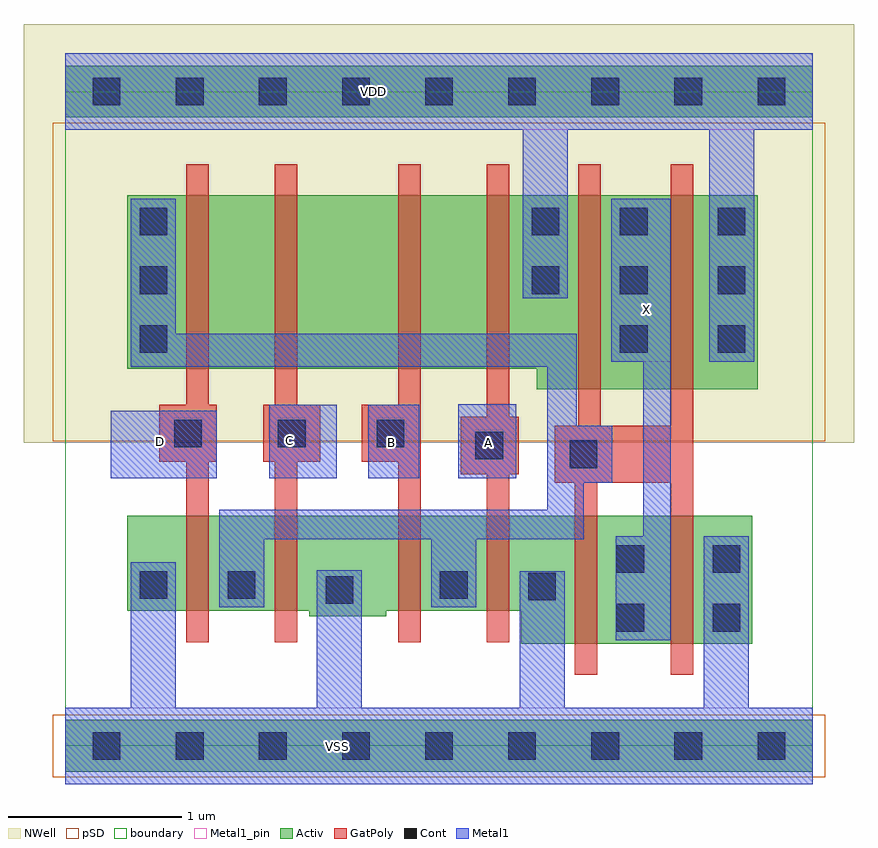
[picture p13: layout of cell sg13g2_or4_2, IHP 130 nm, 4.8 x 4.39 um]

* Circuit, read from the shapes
.subckt sg13g2_or4_2 A B C D VDD VSS X
XM1 n1 D VSS VSS sg13_lv_nmos w=0.55u l=0.13u
XM2 VSS C n1 VSS sg13_lv_nmos w=0.55u l=0.13u
XM3 n1 B VSS VSS sg13_lv_nmos w=0.55u l=0.13u
XM4 VSS A n1 VSS sg13_lv_nmos w=0.55u l=0.13u
XM5 X n1 VSS VSS sg13_lv_nmos w=0.74u l=0.13u m=2
XM6 n2 D n1 VDD sg13_lv_pmos w=1u l=0.13u
XM7 n3 C n2 VDD sg13_lv_pmos w=1u l=0.13u
XM8 n4 B n3 VDD sg13_lv_pmos w=1u l=0.13u
XM9 VDD A n4 VDD sg13_lv_pmos w=1u l=0.13u
XM10 X n1 VDD VDD sg13_lv_pmos w=1.12u l=0.13u m=2
.ends

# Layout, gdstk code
import gdstk
lib = gdstk.Library(unit=1e-6, precision=1e-09)
def R(c, l, rs):  # rectangles x0, y0, x1, y1
    for r in rs: c.add(gdstk.rectangle(r[:2], r[2:], *l))
def A(c, l, x, y, w, h, nx, ny, dx, dy):  # array of equal rectangles
    R(c, l, [(x+i*dx, y+j*dy, x+i*dx+w, y+j*dy+h) for i in range(nx) for j in range(ny)])
def P(c, l, *ps):  # polygons
    for p in ps: c.add(gdstk.Polygon(p, *l))
Activ = (1, 0)
GatPoly = (5, 0)
Cont = (6, 0)
Metal1 = (8, 0)
Metal1_pin = (8, 2)
pSD = (14, 0)
NWell = (31, 0)
boundary = (189, 4)

sg13g2_or4_2 = lib.new_cell('sg13g2_or4_2')
R(sg13g2_or4_2, Activ, [(0,-0.15,4.32,0.15), (0,3.63,4.32,3.93)])
P(sg13g2_or4_2, Activ, [(2.725,2.06),(2.725,2.18),(0.36,2.18),(0.36,3.18),(4,3.18),(4,2.06)],
  [(2.635,0.59),(2.635,0.78),(1.855,0.78),(1.855,0.75),(1.41,0.75),(1.41,0.78),(0.36,0.78),(0.36,1.33),(3.97,1.33),(3.97,0.59)])
R(sg13g2_or4_2, GatPoly, [(3.5,0.41,3.63,1.52), (3.16,1.52,3.63,1.85), (3.5,1.84,3.63,1.88), (3.5,1.88,3.63,3.36)])
P(sg13g2_or4_2, GatPoly, [(1.21,0.6),(1.21,1.64),(1.145,1.64),(1.145,1.97),(1.21,1.97),(1.21,3.36),(1.34,3.36),(1.34,1.97),(1.475,1.97),(1.475,1.64),(1.34,1.64),(1.34,0.6)],
  [(2.945,0.41),(2.945,1.52),(2.83,1.52),(2.83,1.85),(2.965,1.85),(2.965,3.36),(3.095,3.36),(3.095,1.85),(3.16,1.85),(3.16,1.52),(3.075,1.52),(3.075,0.41)],
  [(1.925,0.6),(1.925,1.64),(1.715,1.64),(1.715,1.97),(1.925,1.97),(1.925,3.36),(2.055,3.36),(2.055,0.6)],
  [(2.435,0.6),(2.435,1.57),(2.285,1.57),(2.285,1.9),(2.435,1.9),(2.435,3.36),(2.565,3.36),(2.565,1.9),(2.62,1.9),(2.62,1.57),(2.565,1.57),(2.565,0.6)],
  [(0.7,0.6),(0.7,1.64),(0.545,1.64),(0.545,1.97),(0.7,1.97),(0.7,3.36),(0.83,3.36),(0.83,1.97),(0.875,1.97),(0.875,1.64),(0.83,1.64),(0.83,0.6)])
A(sg13g2_or4_2, Cont, 0.43, 2.27, 0.16, 0.16, 1, 3, 0, 0.34)
A(sg13g2_or4_2, Cont, 3.205, 2.27, 0.16, 0.16, 1, 3, 0, 0.34)
A(sg13g2_or4_2, Cont, 3.77, 2.27, 0.16, 0.16, 1, 3, 0, 0.34)
R(sg13g2_or4_2, Cont, [(0.16,-0.08,0.32,0.08), (0.16,-0.08,0.32,0.08), (0.64,-0.08,0.8,0.08), (0.64,-0.08,0.8,0.08), (1.12,-0.08,1.28,0.08), (1.12,-0.08,1.28,0.08), (1.6,-0.08,1.76,0.08), (1.6,-0.08,1.76,0.08), (2.08,-0.08,2.24,0.08), (2.08,-0.08,2.24,0.08), (2.56,-0.08,2.72,0.08), (2.56,-0.08,2.72,0.08), (3.04,-0.08,3.2,0.08), (3.04,-0.08,3.2,0.08), (3.52,-0.08,3.68,0.08), (3.52,-0.08,3.68,0.08), (4,-0.08,4.16,0.08), (3.185,0.66,3.345,0.82), (3.74,0.66,3.9,0.82), (1.505,0.82,1.665,0.98), (2.675,0.84,2.835,1), (0.43,0.85,0.59,1.01), (0.94,0.85,1.1,1.01), (2.165,0.85,2.325,1.01), (3.185,1,3.345,1.16), (3.74,1,3.9,1.16), (2.915,1.605,3.075,1.765), (2.37,1.655,2.53,1.815), (0.63,1.725,0.79,1.885), (1.23,1.725,1.39,1.885), (1.8,1.725,1.96,1.885), (2.695,2.61,2.855,2.77), (2.695,2.95,2.855,3.11), (0.16,3.7,0.32,3.86), (0.16,3.7,0.32,3.86), (0.64,3.7,0.8,3.86), (0.64,3.7,0.8,3.86), (1.12,3.7,1.28,3.86), (1.12,3.7,1.28,3.86), (1.6,3.7,1.76,3.86), (1.6,3.7,1.76,3.86), (2.08,3.7,2.24,3.86), (2.08,3.7,2.24,3.86), (2.56,3.7,2.72,3.86), (2.56,3.7,2.72,3.86), (3.04,3.7,3.2,3.86), (3.04,3.7,3.2,3.86), (3.52,3.7,3.68,3.86), (3.52,3.7,3.68,3.86), (4,3.7,4.16,3.86)])
R(sg13g2_or4_2, Metal1, [(0.265,1.545,0.875,1.935), (1.18,1.545,1.57,1.97), (1.75,1.545,2.045,1.97), (2.27,1.545,2.605,1.975)])
P(sg13g2_or4_2, Metal1, [(0.89,0.8),(0.89,1.365),(2.785,1.365),(2.785,2.19),(0.38,2.19),(0.38,3.16),(0.64,3.16),(0.64,2.38),(2.955,2.38),(2.955,1.85),(3.16,1.85),(3.16,1.52),(2.995,1.52),(2.995,1.195),(2.375,1.195),(2.375,0.8),(2.115,0.8),(2.115,1.195),(1.15,1.195),(1.15,0.8)],
  [(3.18,0.61),(3.18,1.21),(3.34,1.21),(3.34,2.22),(3.155,2.22),(3.155,3.16),(3.5,3.16),(3.5,0.61)],
  [(3.72,2.22),(3.72,3.56),(2.905,3.56),(2.905,2.585),(2.645,2.585),(2.645,3.56),(0,3.56),(0,4),(4.32,4),(4.32,3.56),(3.98,3.56),(3.98,2.22)],
  [(0,-0.22),(0,0.22),(0.38,0.22),(0.38,1.06),(0.64,1.06),(0.64,0.22),(1.455,0.22),(1.455,1.015),(1.715,1.015),(1.715,0.22),(2.625,0.22),(2.625,1.01),(2.885,1.01),(2.885,0.22),(3.69,0.22),(3.69,1.21),(3.95,1.21),(3.95,0.22),(4.32,0.22),(4.32,-0.22)])
R(sg13g2_or4_2, Metal1_pin, [(0,-0.22,4.32,0.22), (0.265,1.545,0.875,1.935), (1.18,1.545,1.57,1.97), (1.75,1.545,2.045,1.97), (2.27,1.545,2.605,1.975), (3.155,2.22,3.5,3.16), (0,3.56,4.32,4)])
R(sg13g2_or4_2, pSD, [(-0.07,-0.18,4.39,0.18), (-0.07,1.76,4.39,3.6)])
R(sg13g2_or4_2, NWell, [(-0.24,1.75,4.56,4.17)])
R(sg13g2_or4_2, boundary, [(0,0,4.32,3.78)])
sg13g2_or4_2.add(gdstk.Label('X', (3.36,2.52), layer=8, texttype=25))
sg13g2_or4_2.add(gdstk.Label('C', (1.295,1.765), layer=8, texttype=25))
sg13g2_or4_2.add(gdstk.Label('D', (0.55,1.76), layer=8, texttype=25))
sg13g2_or4_2.add(gdstk.Label('VDD', (1.78,3.78), layer=8, texttype=25))
sg13g2_or4_2.add(gdstk.Label('VSS', (1.575,-0.005), layer=8, texttype=25))
sg13g2_or4_2.add(gdstk.Label('A', (2.445,1.755), layer=8, texttype=25))
sg13g2_or4_2.add(gdstk.Label('B', (1.885,1.755), layer=8, texttype=25))

lib.write_gds('sg13g2_or4_2.gds')
